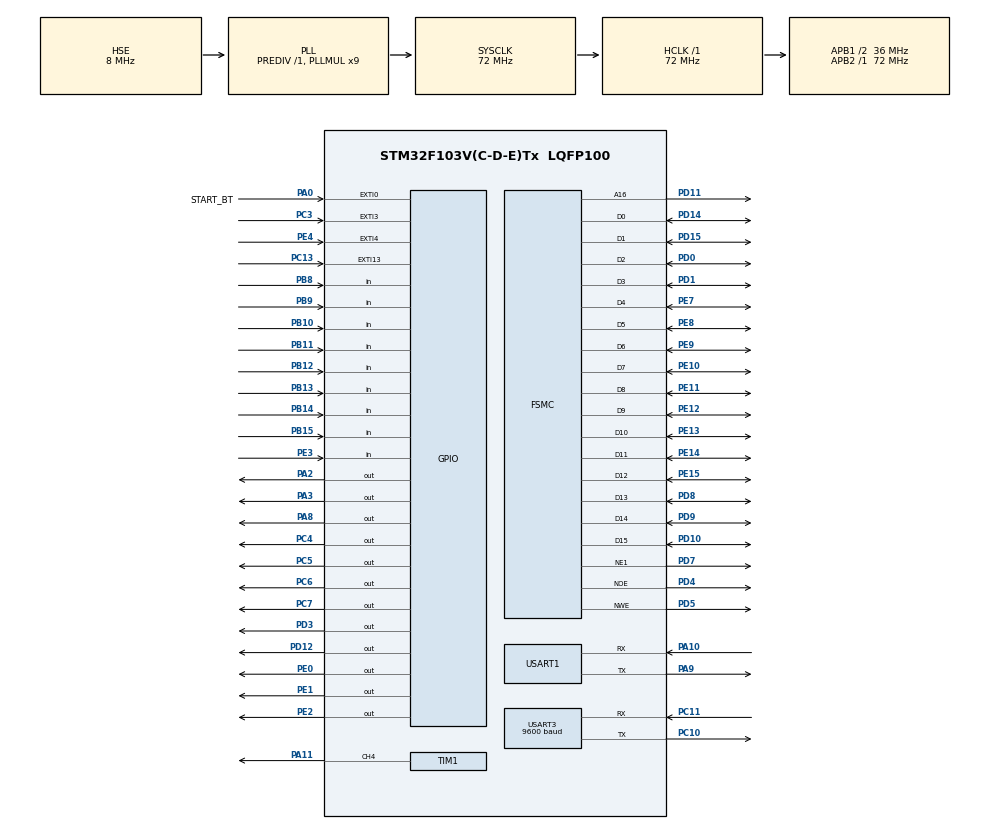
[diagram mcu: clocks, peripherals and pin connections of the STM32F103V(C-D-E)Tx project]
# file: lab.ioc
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Dma.Request0=TIM1_CH4/TRIG/COM
Dma.TIM1_CH4/TRIG/COM.0.Direction=DMA_MEMORY_TO_PERIPH
Dma.TIM1_CH4/TRIG/COM.0.Instance=DMA1_Channel4
Dma.TIM1_CH4/TRIG/COM.0.MemDataAlignment=DMA_MDATAALIGN_HALFWORD
Dma.TIM1_CH4/TRIG/COM.0.MemInc=DMA_MINC_ENABLE
Dma.TIM1_CH4/TRIG/COM.0.Mode=DMA_CIRCULAR
Dma.TIM1_CH4/TRIG/COM.0.PeriphDataAlignment=DMA_PDATAALIGN_HALFWORD
Dma.TIM1_CH4/TRIG/COM.0.PeriphInc=DMA_PINC_DISABLE
Dma.TIM1_CH4/TRIG/COM.0.Priority=DMA_PRIORITY_LOW
Mcu.Family=STM32F1
Mcu.Name=STM32F103V(C-D-E)Tx
Mcu.Package=LQFP100
NVIC.DMA1_Channel4_IRQn=true\:0\:0\:false\:false\:true\:false\:true\:true
NVIC.EXTI0_IRQn=true\:0\:0\:false\:false\:true\:true\:true\:true
NVIC.EXTI3_IRQn=true\:0\:0\:false\:false\:true\:true\:true\:true
NVIC.EXTI4_IRQn=true\:0\:0\:false\:false\:true\:true\:true\:true
NVIC.PriorityGroup=NVIC_PRIORITYGROUP_4
NVIC.USART1_IRQn=true\:0\:0\:false\:false\:true\:true\:true\:true
NVIC.USART3_IRQn=true\:0\:0\:false\:false\:true\:true\:true\:true
OSC_IN.Mode=HSE-External-Oscillator
OSC_IN.Signal=RCC_OSC_IN
OSC_OUT.Mode=HSE-External-Oscillator
OSC_OUT.Signal=RCC_OSC_OUT
PA0-WKUP.GPIO_Label=START_BT
PA0-WKUP.Signal=GPXTI0
PA10.Mode=Asynchronous
PA10.Signal=USART1_RX
PA11.GPIO_Speed=GPIO_SPEED_FREQ_HIGH
PA11.Signal=S_TIM1_CH4
PA13.Mode=Serial_Wire
PA13.Signal=SYS_JTMS-SWDIO
PA14.Mode=Serial_Wire
PA14.Signal=SYS_JTCK-SWCLK
PA2.GPIO_Speed=GPIO_SPEED_FREQ_HIGH
PA2.Signal=GPIO_Output
PA3.GPIO_Speed=GPIO_SPEED_FREQ_HIGH
PA3.Signal=GPIO_Output
PA8.GPIO_Speed=GPIO_SPEED_FREQ_HIGH
PA8.Signal=GPIO_Output
PA9.Mode=Asynchronous
PA9.Signal=USART1_TX
PB10.Signal=GPIO_Input
PB11.Signal=GPIO_Input
PB12.Signal=GPIO_Input
PB13.Signal=GPIO_Input
PB14.Signal=GPIO_Input
PB15.Signal=GPIO_Input
PB8.Signal=GPIO_Input
PB9.Signal=GPIO_Input
PC10.Mode=Asynchronous
PC10.Signal=USART3_TX
PC11.Mode=Asynchronous
PC11.Signal=USART3_RX
PC13-TAMPER-RTC.Signal=GPXTI13
PC14-OSC32_IN.Mode=LSE-External-Oscillator
PC14-OSC32_IN.Signal=RCC_OSC32_IN
PC15-OSC32_OUT.Mode=LSE-External-Oscillator
PC15-OSC32_OUT.Signal=RCC_OSC32_OUT
PC3.GPIO_ModeDefaultEXTI=GPIO_MODE_IT_FALLING
PC3.Signal=GPXTI3
PC4.GPIO_Speed=GPIO_SPEED_FREQ_HIGH
PC4.Signal=GPIO_Output
PC5.GPIO_Speed=GPIO_SPEED_FREQ_HIGH
PC5.Signal=GPIO_Output
PC6.GPIO_ModeDefaultOutputPP=GPIO_MODE_OUTPUT_OD
PC6.GPIO_PuPd=GPIO_NOPULL
PC6.GPIO_Speed=GPIO_SPEED_FREQ_HIGH
PC6.Signal=GPIO_Output
PC7.GPIO_ModeDefaultOutputPP=GPIO_MODE_OUTPUT_OD
PC7.GPIO_Speed=GPIO_SPEED_FREQ_HIGH
PC7.Signal=GPIO_Output
PD0.Mode=16b-d1
PD0.Signal=FSMC_D2
PD1.Mode=16b-d1
PD1.Signal=FSMC_D3
PD10.Mode=16b-d1
PD10.Signal=FSMC_D15
PD11.Mode=A16_1
PD11.Signal=FSMC_A16
PD12.GPIO_Speed=GPIO_SPEED_FREQ_HIGH
PD12.PinState=GPIO_PIN_RESET
PD12.Signal=GPIO_Output
PD14.Mode=16b-d1
PD14.Signal=FSMC_D0
PD15.Mode=16b-d1
PD15.Signal=FSMC_D1
PD3.GPIO_Speed=GPIO_SPEED_FREQ_HIGH
PD3.Signal=GPIO_Output
PD4.Mode=Lcd1
PD4.Signal=FSMC_NOE
PD5.Mode=Lcd1
PD5.Signal=FSMC_NWE
PD7.Mode=NorPsramChipSelect1_1
PD7.Signal=FSMC_NE1
PD8.Mode=16b-d1
PD8.Signal=FSMC_D13
PD9.Mode=16b-d1
PD9.Signal=FSMC_D14
PE0.Signal=GPIO_Output
PE1.GPIO_Speed=GPIO_SPEED_FREQ_HIGH
PE1.PinState=GPIO_PIN_RESET
PE1.Signal=GPIO_Output
PE10.Mode=16b-d1
PE10.Signal=FSMC_D7
PE11.Mode=16b-d1
PE11.Signal=FSMC_D8
PE12.Mode=16b-d1
PE12.Signal=FSMC_D9
PE13.Mode=16b-d1
PE13.Signal=FSMC_D10
PE14.Mode=16b-d1
PE14.Signal=FSMC_D11
PE15.Mode=16b-d1
PE15.Signal=FSMC_D12
PE2.Signal=GPIO_Output
PE3.Signal=GPIO_Input
PE4.Signal=GPXTI4
PE7.Mode=16b-d1
PE7.Signal=FSMC_D4
PE8.Mode=16b-d1
PE8.Signal=FSMC_D5
PE9.Mode=16b-d1
PE9.Signal=FSMC_D6
ProjectManager.HeapSize=0x200
ProjectManager.StackSize=0x400
ProjectManager.TargetToolchain=STM32CubeIDE
RCC.AHBFreq_Value=72000000
RCC.APB1CLKDivider=RCC_HCLK_DIV2
RCC.APB1Freq_Value=36000000
RCC.APB1TimFreq_Value=72000000
RCC.APB2Freq_Value=72000000
RCC.APB2TimFreq_Value=72000000
RCC.HCLKFreq_Value=72000000
RCC.PLLMUL=RCC_PLL_MUL9
RCC.PLLSourceVirtual=RCC_PLLSOURCE_HSE
RCC.SYSCLKFreq_VALUE=72000000
RCC.SYSCLKSource=RCC_SYSCLKSOURCE_PLLCLK
RCC.USBFreq_Value=72000000
SH.S_TIM1_CH4.0=TIM1_CH4,PWM Generation4 CH4
TIM1.Channel-PWM\ Generation4\ CH4=TIM_CHANNEL_4
TIM1.OCFastMode_PWM-PWM\ Generation4\ CH4=TIM_OCFAST_ENABLE
TIM1.Period=76
USART1.VirtualMode=VM_ASYNC
USART3.BaudRate=9600
USART3.VirtualMode=VM_ASYNC
VP_TIM1_VS_ClockSourceINT.Mode=Internal
board=custom

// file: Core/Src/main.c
/* USER CODE BEGIN Header */
/**
 ******************************************************************************
 * @file           : main.c
 * @brief          : Main program body
 ******************************************************************************
 * @attention
 *
 * Copyright (c) 2022 STMicroelectronics.
 * All rights reserved.
 *
 * This software is licensed under terms that can be found in the LICENSE file
 * in the root directory of this software component.
 * If no LICENSE file comes with this software, it is provided AS-IS.
 *
 ******************************************************************************
 */
/* USER CODE END Header */

#include "main.h"
#include "dma.h"
#include "tim.h"
#include "usart.h"
#include "gpio.h"
#include "fsmc.h"

/* USER CODE BEGIN Includes */
#include "color_detection.h"
#include "lcd.h"
#include "solve.h"
#include "string.h"
#include "bsp_ov7725.h"
#include "bsp_sccb.h"
#include "cubeControl.h"
#include "xpt2046.h"
/* USER CODE END Includes */

/* USER CODE BEGIN PTD */
#define RESET_SIZE 80
#define FRAME_SIZE (RESET_SIZE + 24 * 45)
#define LED_NUM 30
/* USER CODE END PTD */

void SystemClock_Config(void);
/* USER CODE BEGIN PFP */
struct color_t
{
  uint8_t r;
  uint8_t g;
  uint8_t b;
};
const uint8_t HIGH_0 = 22;
const uint8_t HIGH_1 = 45;
void stripToDMABuffer(struct color_t *ledStrip, uint32_t *DMADataBuf, uint32_t numLed)
{
  for (uint32_t j = 0; j < numLed; j++)
  {
    for (uint32_t i = 0; i < 8; i++)
    {
      if (ledStrip[j].g & (0x80 >> i))
        DMADataBuf[RESET_SIZE + j * 24 + i] = HIGH_1;
      else
        DMADataBuf[RESET_SIZE + j * 24 + i] = HIGH_0;
    }
    for (uint32_t i = 0; i < 8; i++)
    {
      if (ledStrip[j].r & (0x80 >> i))
        DMADataBuf[RESET_SIZE + j * 24 + i + 8] = HIGH_1;
      else
        DMADataBuf[RESET_SIZE + j * 24 + i + 8] = HIGH_0;
    }
    for (uint32_t i = 0; i < 8; i++)
    {
      if (ledStrip[j].b & (0x80 >> i))
        DMADataBuf[RESET_SIZE + j * 24 + i + 16] = HIGH_1;
      else
        DMADataBuf[RESET_SIZE + j * 24 + i + 16] = HIGH_0;
    }
  }
}
/* USER CODE END PFP */

/* USER CODE BEGIN 0 */
// volatile uint16_t red = 100;
// volatile uint16_t green = 50;
// volatile uint16_t blue = 0;
volatile uint8_t fy;
volatile uint8_t Ov7725_vsync;
volatile uint8_t rx_buffer;
extern volatile uint8_t bt_flags;
int melody[] = {50, 50, 50, 50, 200, 200, 200};
uint32_t DMADataBuf[FRAME_SIZE] = {};
static struct color_t orange = {127, 32, 0};
static struct color_t blue = {0, 96, 67};
static struct color_t LEDStrip[LED_NUM + 10] = {};
/* USER CODE END 0 */

int main(void)
{

  /* MCU Configuration--------------------------------------------------------*/

  /* Reset of all peripherals, Initializes the Flash interface and the Systick. */
  HAL_Init();

  /* Configure the system clock */
  SystemClock_Config();

  /* Initialize all configured peripherals */
  MX_GPIO_Init();
  MX_DMA_Init();
  MX_FSMC_Init();
  MX_USART1_UART_Init();
  MX_USART3_UART_Init();
  MX_TIM1_Init();

  /* Infinite loop */
  /* USER CODE BEGIN WHILE */
  motor_flag = 7;

  HAL_UART_Receive_IT(&huart1, (uint8_t *)&RxBuffer, 3);
  HAL_UART_Receive_IT(&huart3, (uint8_t *)&rx_buffer, 1);
  HAL_TIM_PWM_Start_DMA(&htim1, TIM_CHANNEL_4, DMADataBuf, FRAME_SIZE);
  for (size_t i = 0; i < LED_NUM + 10; i++)
    LEDStrip[i] = orange;
  stripToDMABuffer(LEDStrip, DMADataBuf, 30);

  LCD_INIT();
  cube_t cube;
  memset(cube.face, 0, 54);
  cube.face[4] = 'U';
  cube.face[13] = 'R';
  cube.face[22] = 'F';
  cube.face[31] = 'D';
  cube.face[40] = 'L';
  cube.face[49] = 'B';
  LCD_Clear(50, 80, 140, 70, RED);
  LCD_DrawString(75, 100, "PROGRAM START");
  drawCube(cube.face);

  HAL_Delay(2000);
  //  C2();
  while (Ov7725_Init() != SUCCESS)
    ;
  while (!XPT2046_Touch_Calibrate())
    ;
  LCD_GramScan(1);
  Ov7725_vsync = 0;
  uint8_t cnt = 0;
  uint8_t startCam = 0;
  while (1 && bt_flags != 4)
  {
    /* USER CODE END WHILE */

    // /* USER CODE BEGIN 3 */
    ucXPT2046_TouchFlag = 0;
    if (bt_flags == 2)
      startCam = 1;
    if (startCam)
    {
      if (Ov7725_vsync == 2 && cnt < 12)
      {
        FIFO_PREPARE;
        // LCD_Rst();
        uint16_t temp_colors[9];
        uint16_t squareColors[9];
        //	uint16_t x, y;
        uint16_t Camera_Data;
        memset(squareColors, 0, sizeof(squareColors));
        LCD_Cam_Gram();
        for (int i = 0; i < 240; i++)
        {
          for (int j = 0; j < 320; j++)
          {
            READ_FIFO_PIXEL(Camera_Data);
            LCD_Write_Data(Camera_Data);
            // bottom row
            if (j == 110 && i == 60)
              squareColors[0] = Camera_Data;

            if (j == 110 && i == 120)
              squareColors[3] = Camera_Data;

            if (j == 110 && i == 170)
              squareColors[6] = Camera_Data;

            // // middle row
            if (j == 160 && i == 60)
              squareColors[1] = Camera_Data;

            if (j == 160 && i == 120)
              squareColors[4] = Camera_Data;

            if (j == 160 && i == 170)
              squareColors[7] = Camera_Data;

            // top row

            if (j == 210 && i == 60)
              squareColors[2] = Camera_Data;

            if (j == 210 && i == 120)
              squareColors[5] = Camera_Data;

            if (j == 210 && i == 170)
              squareColors[8] = Camera_Data;
          }
        }
        uint8_t confirm_flag = 0;

        // j , i
        KNearest_match(squareColors, temp_colors, cnt, cube.face, confirm_flag);

        LCD_DrawEllipse(110, 60, 10, 10, temp_colors[0]);  // 0 bottom left
        LCD_DrawEllipse(110, 120, 10, 10, temp_colors[3]); // 1 bottom mid
        LCD_DrawEllipse(110, 170, 10, 10, temp_colors[6]); // 2 bottom right

        LCD_DrawEllipse(160, 60, 10, 10, temp_colors[1]);  // 3 mid left
        LCD_DrawEllipse(160, 120, 10, 10, temp_colors[4]); // 4 center
        LCD_DrawEllipse(160, 170, 10, 10, temp_colors[7]); // 5 mid right

        LCD_DrawEllipse(210, 60, 10, 10, temp_colors[2]);  // 6 top left
        LCD_DrawEllipse(210, 120, 10, 10, temp_colors[5]); // 7 top mid
        LCD_DrawEllipse(210, 170, 10, 10, temp_colors[8]); // 8 top right
        HAL_Delay(1500);
        if (ucXPT2046_TouchFlag == 1)
        {
          bt_flags = 1;
          ucXPT2046_TouchFlag = 0;
          HAL_GPIO_TogglePin(GPIOA, GPIO_PIN_8);
          HAL_Delay(100);
          HAL_GPIO_TogglePin(GPIOA, GPIO_PIN_8);
        }
        if (bt_flags == 1)
          confirm_flag = 1;
        KNearest_match(squareColors, temp_colors, cnt, cube.face, confirm_flag);

        if (confirm_flag == 1)
        {

          bt_flags = 5;
          drawCube(cube.face);
          cnt++;
          switch (cnt)
          {
          case 1:
          case 2:
          case 3:
            K();
            break;
          case 4:
            K();
            C();
            K3();
            break;
          case 5:
          case 6:
          case 7:
            K();
            C1();
            K();
            C();
            K3();
            break;
          case 8:
            K();
            C1();
            K();
            C1();
            K3();
            break;
          case 9:
          case 10:
          case 11:
            K();
            C();
            K();
            C1();
            K3();
            break;
          case 12:
            K();
            C();
            K();
            break;
          }
          HAL_Delay(1000);
        }
        Ov7725_vsync = 0;
      }
      else if (cnt == 12)
      {
        LCD_Clear(0, 0, 320, 320, CYAN);
        LCD_DrawString(80, 100, "DETECTION DONE");
        HAL_UART_Transmit(&huart3, (uint8_t *)cube.face, 54, 100);
        drawCube(cube.face);
        cnt++;
      }
      else if (cnt > 12)
      {
        if (bt_flags == 3)
        {
          // char line_buffer[] = "BBBFULRUBUURFRRRDFDFLUFDLRUUUFFDRLDLRRFLLBBLFDLUBBDDBD";
          // memcpy(cube.face, line_buffer, 54);
          LCD_Clear(0, 0, 320, 320, RED);
          LCD_DrawString(80, 100, "SOLVE BEGIN!");
          // drawCube(cube.face);
          HAL_Delay(50);
          HAL_GPIO_TogglePin(GPIOA, GPIO_PIN_8);
          HAL_Delay(100);
          HAL_GPIO_TogglePin(GPIOA, GPIO_PIN_8);
          solve_Naive(&cube);
          LCD_DrawString(80, 150, "finish calculation!");
          uint8_t color_cnt = 0;
          for (uint16_t i = 0; i < cube.routeLen; i++)
          {
            float temp = cube.routeLen / 15.0f;
            if (i % (int)temp == 0)
            {
              LEDStrip[color_cnt] = blue;
                stripToDMABuffer(LEDStrip, DMADataBuf, 30);
              color_cnt++;
            }

            switch (cube.route[i])
            {
            case 0:
              l();
              break;
            case 1:
              l1();
              break;
            case 2:
              l2();
              break;
            case 3:
              r();
              break;
            case 4:
              r1();
              break;
            case 5:
              r2();
              break;
            case 6:
              u();
              break;
            case 7:
              u1();
              break;
            case 8:
              u2();
              break;
            case 9:
              d();
              break;
            case 10:
              d1();
              break;
            case 11:
              d2();
              break;
            case 12:
              f();
              break;
            case 13:
              f1();
              break;
            case 14:
              f2();
              break;
            case 15:
              b();
              break;
            case 16:
              b1();
              break;
            case 17:
              b2();
              break;
            default:
              break;
            }
          }
          LCD_Clear(0, 0, 320, 320, GREEN);
          LCD_DrawString(80, 100, "SOLVE DONE!");
          return 0;
        }
      }
    }
  }
  /* USER CODE END 3 */
}

void SystemClock_Config(void)
{
  RCC_OscInitTypeDef RCC_OscInitStruct = {0};
  RCC_ClkInitTypeDef RCC_ClkInitStruct = {0};

  /** Initializes the CPU, AHB and APB busses clocks
   */
  RCC_OscInitStruct.OscillatorType = RCC_OSCILLATORTYPE_HSE;
  RCC_OscInitStruct.HSEState = RCC_HSE_ON;
  RCC_OscInitStruct.HSEPredivValue = RCC_HSE_PREDIV_DIV1;
  RCC_OscInitStruct.HSIState = RCC_HSI_ON;
  RCC_OscInitStruct.PLL.PLLState = RCC_PLL_ON;
  RCC_OscInitStruct.PLL.PLLSource = RCC_PLLSOURCE_HSE;
  RCC_OscInitStruct.PLL.PLLMUL = RCC_PLL_MUL9;
  if (HAL_RCC_OscConfig(&RCC_OscInitStruct) != HAL_OK)
  {
    Error_Handler();
  }
  /** Initializes the CPU, AHB and APB busses clocks
   */
  RCC_ClkInitStruct.ClockType = RCC_CLOCKTYPE_HCLK | RCC_CLOCKTYPE_SYSCLK | RCC_CLOCKTYPE_PCLK1 | RCC_CLOCKTYPE_PCLK2;
  RCC_ClkInitStruct.SYSCLKSource = RCC_SYSCLKSOURCE_PLLCLK;
  RCC_ClkInitStruct.AHBCLKDivider = RCC_SYSCLK_DIV1;
  RCC_ClkInitStruct.APB1CLKDivider = RCC_HCLK_DIV2;
  RCC_ClkInitStruct.APB2CLKDivider = RCC_HCLK_DIV1;

  if (HAL_RCC_ClockConfig(&RCC_ClkInitStruct, FLASH_LATENCY_2) != HAL_OK)
  {
    Error_Handler();
  }
}

void Error_Handler(void)
{
  /* USER CODE BEGIN Error_Handler_Debug */
  /* User can add his own implementation to report the HAL error return state */
  __disable_irq();
  while (1)
  {
    // cnt++;
  }
  /* USER CODE END Error_Handler_Debug */
}

/************************ (C) COPYRIGHT STMicroelectronics *****END OF FILE****/
